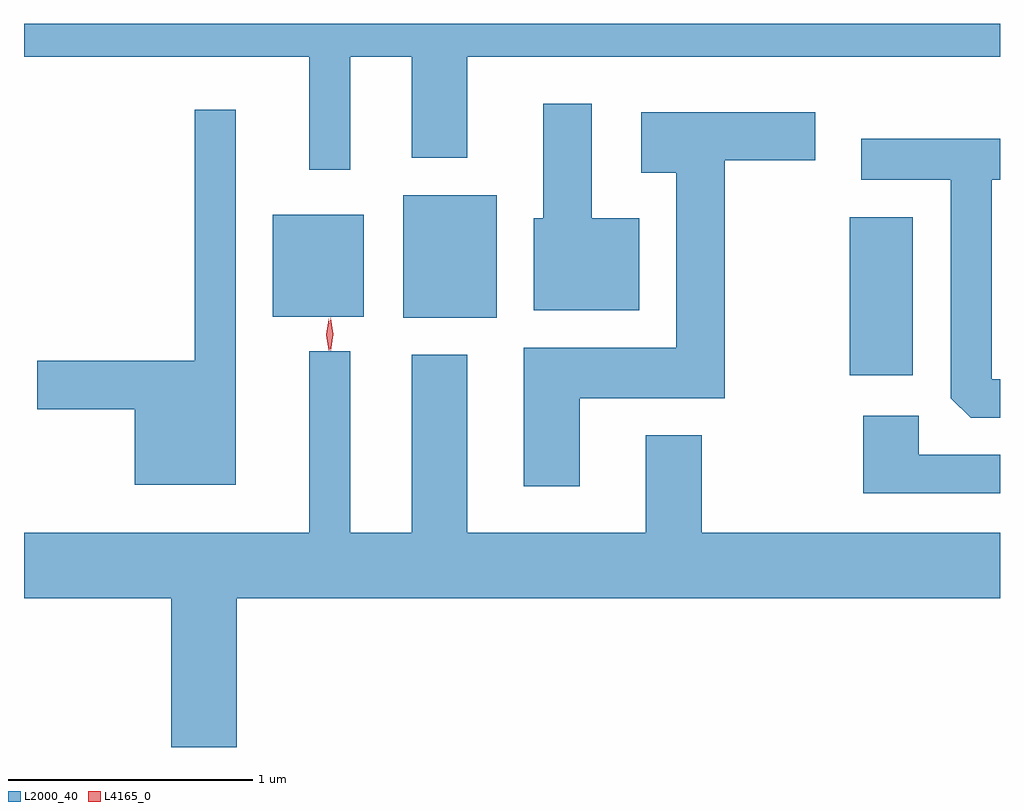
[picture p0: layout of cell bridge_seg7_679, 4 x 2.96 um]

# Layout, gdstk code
import gdstk
lib = gdstk.Library(unit=1e-6, precision=1e-09)
def R(c, l, rs):  # rectangles x0, y0, x1, y1
    for r in rs: c.add(gdstk.rectangle(r[:2], r[2:], *l))
def P(c, l, *ps):  # polygons
    for p in ps: c.add(gdstk.Polygon(p, *l))
L2000_40 = (2000, 40)
L4165_0 = (4165, 0)

bridge_seg7_679 = lib.new_cell('bridge_seg7_679')
R(bridge_seg7_679, L2000_40, [(977.096,1719.671,977.354,1720.319), (975.266,1719.906,975.649,1720.409), (974.731,1719.911,975.104,1720.329)])
P(bridge_seg7_679, L2000_40, [(975.049,1720.976),(975.301,1720.976),(975.301,1720.561),(975.529,1720.561),(975.529,1720.976),(977.712,1720.976),(977.712,1721.111),(973.712,1721.111),(973.712,1720.976),(974.881,1720.976),(974.881,1720.513),(975.049,1720.513)],
  [(976.234,1720.314),(976.039,1720.314),(976.039,1720.784),(975.841,1720.784),(975.841,1720.314),(975.801,1720.314),(975.801,1719.936),(976.234,1719.936)],
  [(974.579,1720.758),(974.411,1720.758),(974.411,1719.729),(973.766,1719.729),(973.766,1719.531),(974.166,1719.531),(974.166,1719.221),(974.579,1719.221)],
  [(975.989,1719.576),(976.584,1719.576),(976.584,1720.551),(976.954,1720.551),(976.954,1720.749),(976.241,1720.749),(976.241,1720.501),(976.386,1720.501),(976.386,1719.784),(975.761,1719.784),(975.761,1719.216),(975.989,1719.216)],
  [(977.712,1719.654),(977.679,1719.654),(977.679,1720.471),(977.712,1720.471),(977.712,1720.639),(977.143,1720.639),(977.143,1720.471),(977.511,1720.471),(977.511,1719.577),(977.592,1719.496),(977.712,1719.496)],
  [(974.584,1718.756),(977.712,1718.756),(977.712,1719.024),(976.489,1719.024),(976.489,1719.424),(976.261,1719.424),(976.261,1719.024),(975.529,1719.024),(975.529,1719.754),(975.301,1719.754),(975.301,1719.024),(975.049,1719.024),(975.049,1719.768),(974.881,1719.768),(974.881,1719.024),(973.712,1719.024),(973.712,1718.756),(974.316,1718.756),(974.316,1718.146),(974.584,1718.146)],
  [(977.712,1719.344),(977.379,1719.344),(977.379,1719.504),(977.151,1719.504),(977.151,1719.186),(977.712,1719.186)])
P(bridge_seg7_679, L4165_0, [(974.969,1719.77),(974.969,1719.77),(974.959,1719.838),(974.969,1719.905),(974.969,1719.906),(974.97,1719.905),(974.979,1719.838),(974.97,1719.77)],
  [(974.961,1719.773),(974.961,1719.773),(974.951,1719.837),(974.96,1719.901),(974.96,1719.902),(974.961,1719.901),(974.971,1719.837),(974.962,1719.773)])

lib.write_gds('bridge_seg7_679.gds')
